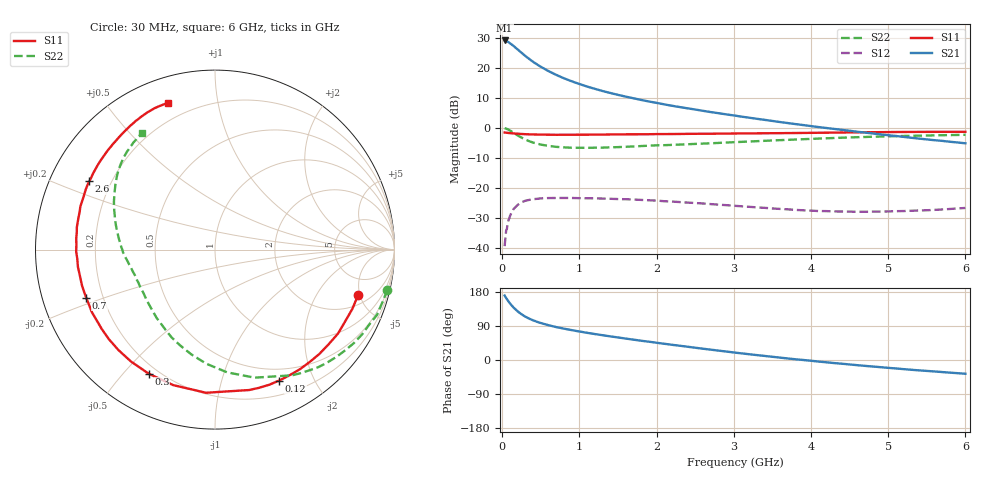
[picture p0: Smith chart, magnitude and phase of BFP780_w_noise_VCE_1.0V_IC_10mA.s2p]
! Infineon Technologies  Discrete & RF Semiconductors
! BFP780
! VCE =  1.0 V,  IC =  10 mA
! Common Emitter S-Parameters:  Jul 2015
# GHz  S  MA  R  50
!  f  S11  S21  S12  S22
! GHz  MAG  ANG  MAG  ANG  MAG  ANG  MAG  ANG
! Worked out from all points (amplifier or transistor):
!   75 points, 30 MHz to 6 GHz, reference 50 ohm
!   highest |S21| = 29.0 dB at 30 MHz (marker M1)
!   |S21| within 3 dB of that: start of sweep to 199.4 MHz
!   unconditionally stable (mu >= 1): 2.665 GHz to end of sweep
!   at 150 MHz: K = 0.05, MSG = 27.0 dB, |S12| = -26.9 dB
!   at 2.3 GHz: K = 0.82, MSG = 15.8 dB, |S12| = -24.7 dB
!   at 6 GHz: K = 2.14, MAG = 4.7 dB, |S12| = -26.6 dB
!   lowest NFmin = 0.78 dB at 450 MHz
!   S11 on the Smith chart (normalised r, x): 30 MHz: 2.83, -4.80; 120 MHz: 0.36, -1.54; 300 MHz: 0.16, -0.59; 700 MHz: 0.14, -0.18; 2.6 GHz: 0.12, +0.25; 6 GHz: 0.12, +0.72
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0.03  0.8365 -17.7  28.32 170.1  0.0108 81.6  0.9864 -13.1
0.05  0.8281 -29.1  27.95 163.4  0.0197 77.5  0.9732 -21.9
0.08  0.8222 -45.0  26.61 154.6  0.0291 64.3  0.9327 -34.0
0.12  0.8126 -63.9  24.32 144.3  0.0391 55.6  0.8714 -48.8
0.15  0.8053 -76.3  22.7 137.6  0.0454 50.1  0.8215 -58.5
0.2  0.7992 -93.6  20.02 128.2  0.0525 40.5  0.7469 -72.8
0.25  0.79 -107.1  17.64 120.5  0.058 33.8  0.6875 -84.3
0.3  0.7839 -118.1  15.6 114.2  0.0615 28.2  0.6375 -94.4
0.35  0.7797 -126.9  13.92 109.0  0.0635 23.9  0.5982 -102.8
0.4  0.7763 -133.9  12.48 104.7  0.0652 20.5  0.5687 -109.8
0.45  0.7738 -139.8  11.32 100.8  0.0661 17.1  0.5461 -116.2
0.6  0.7695 -153.1  8.751 91.8  0.0681 10.3  0.5007 -130.5
0.7  0.766 -159.6  7.573 86.8  0.0683 6.6  0.4828 -137.7
0.9  0.7668 -169.1  5.929 78.8  0.0683 1.2  0.4663 -148.6
1.1  0.769 -176.2  4.847 71.7  0.0675 -2.7  0.4647 -156.7
1.5  0.7759 173.0  3.53 59.5  0.0655 -9.2  0.4782 -167.7
2.1  0.788 160.6  2.451 42.8  0.0603 -16.3  0.515 -179.5
2.6  0.7972 151.5  1.917 29.8  0.0553 -20.4  0.5472 171.3
3.1  0.8068 143.1  1.534 17.5  0.0497 -22.1  0.5847 162.5
4.1  0.8279 128.2  1.029 -4.2  0.0414 -17.7  0.6627 146.9
5.1  0.8525 116.2  0.732 -22.3  0.0412 -8.0  0.7273 133.5
6  0.8586 107.7  0.553 -36.3  0.0466 -2.5  0.7659 121.9
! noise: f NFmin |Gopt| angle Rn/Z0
0.45  0.78  0.21  99  0.08
0.9  0.87  0.24  126  0.11
1.5  1.06  0.36  157  0.06
1.8  1.29  0.44  173  0.06
2.4  1.55  0.52  -176  0.07
3  1.98  0.57  -157  0.12
3.5  2.67  0.62  -142  0.24
